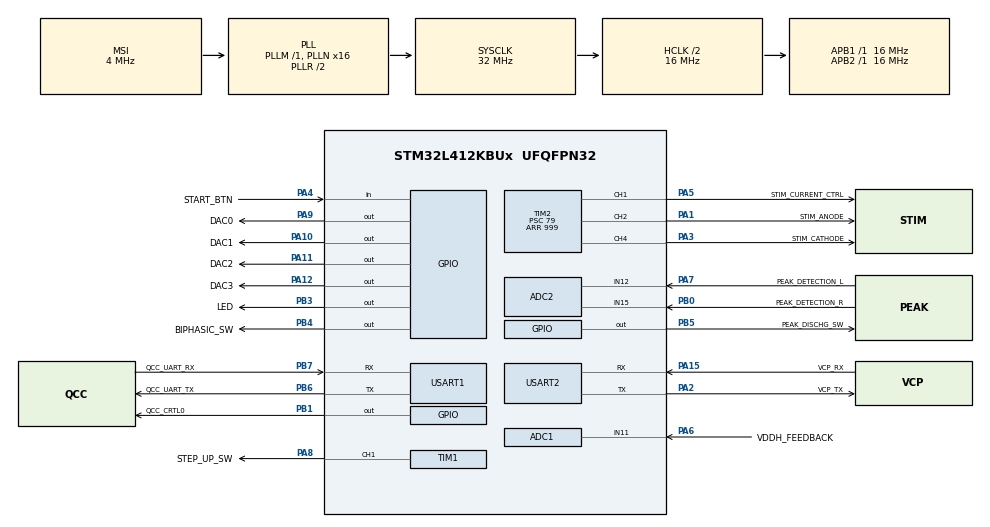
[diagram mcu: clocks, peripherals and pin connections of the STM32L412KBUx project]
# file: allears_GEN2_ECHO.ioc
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ADC1.Channel-4\#ChannelRegularConversion=ADC_CHANNEL_11
ADC1.ClockPrescaler=ADC_CLOCK_ASYNC_DIV1
ADC1.ContinuousConvMode=ENABLE
ADC1.DMAContinuousRequests=DISABLE
ADC1.EOCSelection=ADC_EOC_SEQ_CONV
ADC1.ExternalTrigConv=ADC_SOFTWARE_START
ADC1.NbrOfConversion=1
ADC1.NbrOfConversionFlag=1
ADC1.Overrun=ADC_OVR_DATA_PRESERVED
ADC1.SamplingTime-4\#ChannelRegularConversion=ADC_SAMPLETIME_47CYCLES_5
ADC1.master=1
ADC2.Channel-0\#ChannelRegularConversion=ADC_CHANNEL_12
ADC2.Channel-1\#ChannelRegularConversion=ADC_CHANNEL_15
ADC2.ContinuousConvMode=ENABLE
ADC2.DMAContinuousRequests=ENABLE
ADC2.EOCSelection=ADC_EOC_SEQ_CONV
ADC2.ExternalTrigConv=ADC_EXTERNALTRIG_T2_TRGO
ADC2.NbrOfConversion=2
ADC2.NbrOfConversionFlag=1
ADC2.OffsetNumber-0\#ChannelRegularConversion=ADC_OFFSET_NONE
ADC2.OffsetNumber-1\#ChannelRegularConversion=ADC_OFFSET_NONE
ADC2.Rank-0\#ChannelRegularConversion=1
ADC2.Rank-1\#ChannelRegularConversion=2
ADC2.SamplingTime-0\#ChannelRegularConversion=ADC_SAMPLETIME_47CYCLES_5
ADC2.SamplingTime-1\#ChannelRegularConversion=ADC_SAMPLETIME_47CYCLES_5
Dma.ADC1.2.Direction=DMA_PERIPH_TO_MEMORY
Dma.ADC1.2.Instance=DMA1_Channel1
Dma.ADC1.2.MemDataAlignment=DMA_MDATAALIGN_HALFWORD
Dma.ADC1.2.MemInc=DMA_MINC_ENABLE
Dma.ADC1.2.Mode=DMA_NORMAL
Dma.ADC1.2.PeriphDataAlignment=DMA_PDATAALIGN_HALFWORD
Dma.ADC1.2.PeriphInc=DMA_PINC_DISABLE
Dma.ADC1.2.Priority=DMA_PRIORITY_HIGH
Dma.ADC2.3.Direction=DMA_PERIPH_TO_MEMORY
Dma.ADC2.3.Instance=DMA1_Channel2
Dma.ADC2.3.MemDataAlignment=DMA_MDATAALIGN_HALFWORD
Dma.ADC2.3.MemInc=DMA_MINC_ENABLE
Dma.ADC2.3.Mode=DMA_CIRCULAR
Dma.ADC2.3.PeriphDataAlignment=DMA_PDATAALIGN_HALFWORD
Dma.ADC2.3.PeriphInc=DMA_PINC_DISABLE
Dma.ADC2.3.Priority=DMA_PRIORITY_LOW
Dma.Request0=TIM2_CH2/CH4
Dma.Request1=TIM2_CH1
Dma.Request2=ADC1
Dma.Request3=ADC2
Dma.TIM2_CH1.1.Direction=DMA_MEMORY_TO_PERIPH
Dma.TIM2_CH1.1.Instance=DMA1_Channel5
Dma.TIM2_CH1.1.MemDataAlignment=DMA_MDATAALIGN_WORD
Dma.TIM2_CH1.1.MemInc=DMA_MINC_ENABLE
Dma.TIM2_CH1.1.Mode=DMA_CIRCULAR
Dma.TIM2_CH1.1.PeriphDataAlignment=DMA_PDATAALIGN_WORD
Dma.TIM2_CH1.1.PeriphInc=DMA_PINC_DISABLE
Dma.TIM2_CH1.1.Priority=DMA_PRIORITY_LOW
Dma.TIM2_CH2/CH4.0.Direction=DMA_MEMORY_TO_PERIPH
Dma.TIM2_CH2/CH4.0.Instance=DMA1_Channel7
Dma.TIM2_CH2/CH4.0.MemDataAlignment=DMA_MDATAALIGN_WORD
Dma.TIM2_CH2/CH4.0.MemInc=DMA_MINC_ENABLE
Dma.TIM2_CH2/CH4.0.Mode=DMA_CIRCULAR
Dma.TIM2_CH2/CH4.0.PeriphDataAlignment=DMA_PDATAALIGN_WORD
Dma.TIM2_CH2/CH4.0.PeriphInc=DMA_PINC_DISABLE
Dma.TIM2_CH2/CH4.0.Priority=DMA_PRIORITY_LOW
Mcu.Family=STM32L4
Mcu.Name=STM32L412KBUx
Mcu.Package=UFQFPN32
NVIC.DMA1_Channel1_IRQn=true\:2\:0\:true\:false\:true\:false\:true\:true
NVIC.DMA1_Channel2_IRQn=true\:2\:0\:true\:false\:true\:false\:true\:true
NVIC.DMA1_Channel5_IRQn=true\:0\:0\:true\:false\:true\:false\:true\:true
NVIC.DMA1_Channel7_IRQn=true\:0\:0\:true\:false\:true\:false\:true\:true
NVIC.PriorityGroup=NVIC_PRIORITYGROUP_4
NVIC.TIM1_UP_TIM16_IRQn=true\:2\:0\:true\:false\:true\:true\:true\:true
NVIC.TIM2_IRQn=true\:2\:0\:true\:false\:true\:true\:true\:true
NVIC.USART1_IRQn=true\:0\:0\:false\:false\:true\:true\:true\:true
NVIC.USART2_IRQn=true\:0\:0\:false\:false\:true\:true\:true\:true
PA0-CK_IN.Mode=SYS_WakeUp0
PA0-CK_IN.Signal=SYS_WKUP1
PA1.GPIO_Label=STIM_ANODE
PA1.GPIO_PuPd=GPIO_NOPULL
PA1.Signal=S_TIM2_CH2
PA10.GPIO_Label=DAC1
PA10.Signal=GPIO_Output
PA11.GPIO_Label=DAC2
PA11.Signal=GPIO_Output
PA12.GPIO_Label=DAC3
PA12.Signal=GPIO_Output
PA13\ (JTMS/SWDIO).GPIO_Label=SWDIO
PA13\ (JTMS/SWDIO).Mode=Serial_Wire
PA13\ (JTMS/SWDIO).Signal=SYS_JTMS-SWDIO
PA14\ (JTCK/SWCLK).GPIO_Label=SWCLK
PA14\ (JTCK/SWCLK).Mode=Serial_Wire
PA14\ (JTCK/SWCLK).Signal=SYS_JTCK-SWCLK
PA15\ (JTDI).GPIO_Label=VCP_RX
PA15\ (JTDI).Mode=Asynchronous
PA15\ (JTDI).Signal=USART2_RX
PA2.GPIO_Label=VCP_TX
PA2.Mode=Asynchronous
PA2.Signal=USART2_TX
PA3.GPIO_Label=STIM_CATHODE
PA3.GPIO_PuPd=GPIO_NOPULL
PA3.Signal=S_TIM2_CH4
PA4.GPIO_Label=START_BTN
PA4.GPIO_PuPd=GPIO_PULLUP
PA4.Signal=GPIO_Input
PA5.GPIO_Label=STIM_CURRENT_CTRL
PA5.GPIO_PuPd=GPIO_NOPULL
PA5.Signal=S_TIM2_CH1
PA6.GPIO_Label=VDDH_FEEDBACK
PA6.GPIO_Mode=GPIO_MODE_ANALOG_ADC_CONTROL
PA6.GPIO_PuPd=GPIO_NOPULL
PA6.Signal=ADCx_IN11
PA7.GPIO_Label=PEAK_DETECTION_L
PA7.Signal=ADCx_IN12
PA8.GPIO_Label=STEP_UP_SW
PA8.Signal=S_TIM1_CH1
PA9.GPIO_Label=DAC0
PA9.Signal=GPIO_Output
PB0.GPIO_Label=PEAK_DETECTION_R
PB0.Signal=ADCx_IN15
PB1.GPIO_Label=QCC_CRTL0
PB1.Signal=GPIO_Output
PB3\ (JTDO/TRACESWO).GPIO_Label=LED
PB3\ (JTDO/TRACESWO).Signal=GPIO_Output
PB4\ (NJTRST).GPIO_Label=BIPHASIC_SW
PB4\ (NJTRST).Signal=GPIO_Output
PB5.GPIO_Label=PEAK_DISCHG_SW
PB5.Signal=GPIO_Output
PB6.GPIO_Label=QCC_UART_TX
PB6.Mode=Asynchronous
PB6.Signal=USART1_TX
PB7.GPIO_Label=QCC_UART_RX
PB7.Mode=Asynchronous
PB7.Signal=USART1_RX
PC14-OSC32_IN\ (PC14).Mode=LSE-External-Oscillator
PC14-OSC32_IN\ (PC14).Signal=RCC_OSC32_IN
PC15-OSC32_OUT\ (PC15).Mode=LSE-External-Oscillator
PC15-OSC32_OUT\ (PC15).Signal=RCC_OSC32_OUT
ProjectManager.HeapSize=0x800
ProjectManager.StackSize=0x800
ProjectManager.TargetToolchain=STM32CubeIDE
RCC.ADCFreq_Value=32000000
RCC.AHBCLKDivider=RCC_SYSCLK_DIV2
RCC.AHBFreq_Value=16000000
RCC.APB1Freq_Value=16000000
RCC.APB1TimFreq_Value=16000000
RCC.APB2Freq_Value=16000000
RCC.APB2TimFreq_Value=16000000
RCC.CortexFreq_Value=16000000
RCC.FLatency=FLASH_LATENCY_0
RCC.HCLKFreq_Value=16000000
RCC.HSE_VALUE=8000000
RCC.HSI48_VALUE=48000000
RCC.HSICalibrationValue=16
RCC.HSI_VALUE=16000000
RCC.MSI_VALUE=4000000
RCC.PLLN=16
RCC.SYSCLKFreq_VALUE=32000000
RCC.SYSCLKSource=RCC_SYSCLKSOURCE_PLLCLK
RCC.USBFreq_Value=4000000
RCC.VCOOutputFreq_Value=64000000
SH.ADCx_IN11.0=ADC1_IN11,IN11-Single-Ended
SH.ADCx_IN12.0=ADC2_IN12,IN12-Single-Ended
SH.ADCx_IN15.0=ADC2_IN15,IN15-Single-Ended
SH.S_TIM1_CH1.0=TIM1_CH1,PWM Generation1 CH1
SH.S_TIM2_CH1.0=TIM2_CH1,Output Compare1 CH1
SH.S_TIM2_CH2.0=TIM2_CH2,PWM Generation2 CH2
SH.S_TIM2_CH4.0=TIM2_CH4,Output Compare4 CH4
TIM1.AutoReloadPreload=TIM_AUTORELOAD_PRELOAD_ENABLE
TIM1.Channel-PWM\ Generation1\ CH1=TIM_CHANNEL_1
TIM1.CounterMode=TIM_COUNTERMODE_DOWN
TIM1.Period=199
TIM1.Prescaler=1
TIM1.Pulse-PWM\ Generation1\ CH1=1
TIM16.AutoReloadPreload=TIM_AUTORELOAD_PRELOAD_ENABLE
TIM16.Period=999
TIM16.Prescaler=7999
TIM2.AutoReloadPreload=TIM_AUTORELOAD_PRELOAD_ENABLE
TIM2.Channel-Output\ Compare1\ CH1=TIM_CHANNEL_1
TIM2.Channel-Output\ Compare4\ CH4=TIM_CHANNEL_4
TIM2.Channel-PWM\ Generation2\ CH2=TIM_CHANNEL_2
TIM2.ClearInputSource=TIM_CLEARINPUTSOURCE_NONE
TIM2.OC1Preload=DISABLE
TIM2.OC2Preload_PWM=DISABLE
TIM2.OC4Preload=DISABLE
TIM2.OCMode_1=TIM_OCMODE_TOGGLE
TIM2.OCMode_4=TIM_OCMODE_TOGGLE
TIM2.OCPolarity_1=TIM_OCPOLARITY_HIGH
TIM2.OCPolarity_2=TIM_OCPOLARITY_HIGH
TIM2.OCPolarity_4=TIM_OCPOLARITY_HIGH
TIM2.Period=999
TIM2.Prescaler=79
TIM2.Pulse-Output\ Compare1\ CH1=5
TIM2.Pulse-Output\ Compare4\ CH4=1040
TIM2.Pulse-PWM\ Generation2\ CH2=1010
TIM2.TIM_MasterOutputTrigger=TIM_TRGO_UPDATE
USART1.VirtualMode-Asynchronous=VM_ASYNC
USART2.VirtualMode-Asynchronous=VM_ASYNC
VP_TIM16_VS_ClockSourceINT.Mode=Enable_Timer
board=NUCLEO-L412KB

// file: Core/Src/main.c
/* USER CODE BEGIN Header */
/**
 ******************************************************************************
 * @file           : main.c
 * @brief          : Main program body
 ******************************************************************************
 * @attention
 *
 * Copyright (c) 2022 STMicroelectronics.
 * All rights reserved.
 *
 * This software is licensed under terms that can be found in the LICENSE file
 * in the root directory of this software component.
 * If no LICENSE file comes with this software, it is provided AS-IS.
 *
 ******************************************************************************
 */
/* USER CODE END Header */
#include "main.h"

/* USER CODE BEGIN Includes */
#include <stdio.h>
#include <stdbool.h>
#include <echo_adc.h>
#include <echo_btn.h>
#include <echo_led.h>
#include <echo_schedule.h>
#include <echo_shell.h>
#include <echo_stim_setting.h>
#include <echo_sys_common.h>
#include <echo_sys_fsm_state.h>

/* USER CODE END Includes */

ADC_HandleTypeDef hadc1;
ADC_HandleTypeDef hadc2;
DMA_HandleTypeDef hdma_adc1;
DMA_HandleTypeDef hdma_adc2;

TIM_HandleTypeDef htim1;
TIM_HandleTypeDef htim2;
TIM_HandleTypeDef htim16;
DMA_HandleTypeDef hdma_tim2_ch2_ch4;
DMA_HandleTypeDef hdma_tim2_ch1;

UART_HandleTypeDef huart1;
UART_HandleTypeDef huart2;

void SystemClock_Config(void);
static void MX_GPIO_Init(void);
static void MX_DMA_Init(void);
static void MX_TIM1_Init(void);
static void MX_TIM2_Init(void);
static void MX_TIM16_Init(void);
static void MX_USART1_UART_Init(void);
static void MX_USART2_UART_Init(void);
static void MX_ADC1_Init(void);
static void MX_ADC2_Init(void);

int main(void)
{

	/* MCU Configuration--------------------------------------------------------*/

	/* Reset of all peripherals, Initializes the Flash interface and the Systick. */
	HAL_Init();

	/* Configure the system clock */
	SystemClock_Config();

	/* Initialize all configured peripherals */
	MX_GPIO_Init();
	MX_DMA_Init();
	MX_TIM1_Init();
	MX_TIM2_Init();
	MX_TIM16_Init();
	MX_USART1_UART_Init();
	MX_USART2_UART_Init();
	MX_ADC1_Init();
	MX_ADC2_Init();
	/* USER CODE BEGIN 2 */
	static uint32_t schdule_tick = 0;
	Echo_PCI_State_Init();
	/* USER CODE END 2 */

	/* Infinite loop */
	while (1)
	{

		/* USER CODE BEGIN 3 */
		Echo_Shell_CMD_Handle();
		if (HAL_GetTick() - schdule_tick >= ECHO_SCHED_HANDLE_PERIOD)
		{
			Echo_Sys_FSM_State_Handle();
			Echo_Btn_Handle();
			Echo_LED_Handle();
			Echo_ADC_Handle();
			Echo_Shell_Input_Print();
			schdule_tick = HAL_GetTick();
		}

		/*
		 GPIOB->ODR ^= LED_Pin;
		 HAL_Delay(25);
		 */

		/*
		 * POWER SLEEP MODE
		 * HAL_PWR_EnterSLEEPMode(PWR_MAINREGULATOR_ON, PWR_SLEEPENTRY_WFI);
		 */
	}
	/* USER CODE END 3 */
}

void SystemClock_Config(void)
{
	RCC_OscInitTypeDef RCC_OscInitStruct =
	{ 0 };
	RCC_ClkInitTypeDef RCC_ClkInitStruct =
	{ 0 };

	/** Configure the main internal regulator output voltage
	 */
	if (HAL_PWREx_ControlVoltageScaling(PWR_REGULATOR_VOLTAGE_SCALE1) != HAL_OK)
	{
		Error_Handler();
	}

	/** Configure LSE Drive Capability
	 */
	HAL_PWR_EnableBkUpAccess();
	__HAL_RCC_LSEDRIVE_CONFIG(RCC_LSEDRIVE_LOW);

	/** Initializes the RCC Oscillators according to the specified parameters
	 * in the RCC_OscInitTypeDef structure.
	 */
	RCC_OscInitStruct.OscillatorType = RCC_OSCILLATORTYPE_LSE
			| RCC_OSCILLATORTYPE_MSI;
	RCC_OscInitStruct.LSEState = RCC_LSE_ON;
	RCC_OscInitStruct.MSIState = RCC_MSI_ON;
	RCC_OscInitStruct.MSICalibrationValue = 0;
	RCC_OscInitStruct.MSIClockRange = RCC_MSIRANGE_6;
	RCC_OscInitStruct.PLL.PLLState = RCC_PLL_ON;
	RCC_OscInitStruct.PLL.PLLSource = RCC_PLLSOURCE_MSI;
	RCC_OscInitStruct.PLL.PLLM = 1;
	RCC_OscInitStruct.PLL.PLLN = 16;
	RCC_OscInitStruct.PLL.PLLQ = RCC_PLLQ_DIV2;
	RCC_OscInitStruct.PLL.PLLR = RCC_PLLR_DIV2;
	if (HAL_RCC_OscConfig(&RCC_OscInitStruct) != HAL_OK)
	{
		Error_Handler();
	}

	/** Initializes the CPU, AHB and APB buses clocks
	 */
	RCC_ClkInitStruct.ClockType = RCC_CLOCKTYPE_HCLK | RCC_CLOCKTYPE_SYSCLK
			| RCC_CLOCKTYPE_PCLK1 | RCC_CLOCKTYPE_PCLK2;
	RCC_ClkInitStruct.SYSCLKSource = RCC_SYSCLKSOURCE_PLLCLK;
	RCC_ClkInitStruct.AHBCLKDivider = RCC_SYSCLK_DIV2;
	RCC_ClkInitStruct.APB1CLKDivider = RCC_HCLK_DIV1;
	RCC_ClkInitStruct.APB2CLKDivider = RCC_HCLK_DIV1;

	if (HAL_RCC_ClockConfig(&RCC_ClkInitStruct, FLASH_LATENCY_0) != HAL_OK)
	{
		Error_Handler();
	}

	/** Enable MSI Auto calibration
	 */
	HAL_RCCEx_EnableMSIPLLMode();
}

static void MX_ADC1_Init(void)
{

	ADC_MultiModeTypeDef multimode =
	{ 0 };
	ADC_ChannelConfTypeDef sConfig =
	{ 0 };

	/** Common config
	 */
	hadc1.Instance = ADC1;
	hadc1.Init.ClockPrescaler = ADC_CLOCK_ASYNC_DIV1;
	hadc1.Init.Resolution = ADC_RESOLUTION_12B;
	hadc1.Init.DataAlign = ADC_DATAALIGN_RIGHT;
	hadc1.Init.ScanConvMode = ADC_SCAN_DISABLE;
	hadc1.Init.EOCSelection = ADC_EOC_SEQ_CONV;
	hadc1.Init.LowPowerAutoWait = DISABLE;
	hadc1.Init.ContinuousConvMode = ENABLE;
	hadc1.Init.NbrOfConversion = 1;
	hadc1.Init.DiscontinuousConvMode = DISABLE;
	hadc1.Init.ExternalTrigConv = ADC_SOFTWARE_START;
	hadc1.Init.ExternalTrigConvEdge = ADC_EXTERNALTRIGCONVEDGE_NONE;
	hadc1.Init.DMAContinuousRequests = DISABLE;
	hadc1.Init.Overrun = ADC_OVR_DATA_PRESERVED;
	hadc1.Init.OversamplingMode = DISABLE;
	if (HAL_ADC_Init(&hadc1) != HAL_OK)
	{
		Error_Handler();
	}

	/** Configure the ADC multi-mode
	 */
	multimode.Mode = ADC_MODE_INDEPENDENT;
	if (HAL_ADCEx_MultiModeConfigChannel(&hadc1, &multimode) != HAL_OK)
	{
		Error_Handler();
	}

	/** Configure Regular Channel
	 */
	sConfig.Channel = ADC_CHANNEL_11;
	sConfig.Rank = ADC_REGULAR_RANK_1;
	sConfig.SamplingTime = ADC_SAMPLETIME_47CYCLES_5;
	sConfig.SingleDiff = ADC_SINGLE_ENDED;
	sConfig.OffsetNumber = ADC_OFFSET_NONE;
	sConfig.Offset = 0;
	if (HAL_ADC_ConfigChannel(&hadc1, &sConfig) != HAL_OK)
	{
		Error_Handler();
	}

}

static void MX_ADC2_Init(void)
{

	ADC_ChannelConfTypeDef sConfig =
	{ 0 };

	/** Common config
	 */
	hadc2.Instance = ADC2;
	hadc2.Init.ClockPrescaler = ADC_CLOCK_ASYNC_DIV1;
	hadc2.Init.Resolution = ADC_RESOLUTION_12B;
	hadc2.Init.DataAlign = ADC_DATAALIGN_RIGHT;
	hadc2.Init.ScanConvMode = ADC_SCAN_ENABLE;
	hadc2.Init.EOCSelection = ADC_EOC_SEQ_CONV;
	hadc2.Init.LowPowerAutoWait = DISABLE;
	hadc2.Init.ContinuousConvMode = ENABLE;
	hadc2.Init.NbrOfConversion = 2;
	hadc2.Init.DiscontinuousConvMode = DISABLE;
	hadc2.Init.ExternalTrigConv = ADC_EXTERNALTRIG_T2_TRGO;
	hadc2.Init.ExternalTrigConvEdge = ADC_EXTERNALTRIGCONVEDGE_RISING;
	hadc2.Init.DMAContinuousRequests = ENABLE;
	hadc2.Init.Overrun = ADC_OVR_DATA_PRESERVED;
	hadc2.Init.OversamplingMode = DISABLE;
	if (HAL_ADC_Init(&hadc2) != HAL_OK)
	{
		Error_Handler();
	}

	/** Configure Regular Channel
	 */
	sConfig.Channel = ADC_CHANNEL_12;
	sConfig.Rank = ADC_REGULAR_RANK_1;
	sConfig.SamplingTime = ADC_SAMPLETIME_47CYCLES_5;
	sConfig.SingleDiff = ADC_SINGLE_ENDED;
	sConfig.OffsetNumber = ADC_OFFSET_NONE;
	sConfig.Offset = 0;
	if (HAL_ADC_ConfigChannel(&hadc2, &sConfig) != HAL_OK)
	{
		Error_Handler();
	}

	/** Configure Regular Channel
	 */
	sConfig.Channel = ADC_CHANNEL_15;
	sConfig.Rank = ADC_REGULAR_RANK_2;
	if (HAL_ADC_ConfigChannel(&hadc2, &sConfig) != HAL_OK)
	{
		Error_Handler();
	}

}

static void MX_TIM1_Init(void)
{

	TIM_MasterConfigTypeDef sMasterConfig =
	{ 0 };
	TIM_OC_InitTypeDef sConfigOC =
	{ 0 };
	TIM_BreakDeadTimeConfigTypeDef sBreakDeadTimeConfig =
	{ 0 };

	htim1.Instance = TIM1;
	htim1.Init.Prescaler = 1;
	htim1.Init.CounterMode = TIM_COUNTERMODE_DOWN;
	htim1.Init.Period = 199;
	htim1.Init.ClockDivision = TIM_CLOCKDIVISION_DIV1;
	htim1.Init.RepetitionCounter = 0;
	htim1.Init.AutoReloadPreload = TIM_AUTORELOAD_PRELOAD_ENABLE;
	if (HAL_TIM_PWM_Init(&htim1) != HAL_OK)
	{
		Error_Handler();
	}
	sMasterConfig.MasterOutputTrigger = TIM_TRGO_RESET;
	sMasterConfig.MasterOutputTrigger2 = TIM_TRGO2_RESET;
	sMasterConfig.MasterSlaveMode = TIM_MASTERSLAVEMODE_DISABLE;
	if (HAL_TIMEx_MasterConfigSynchronization(&htim1, &sMasterConfig) != HAL_OK)
	{
		Error_Handler();
	}
	sConfigOC.OCMode = TIM_OCMODE_PWM1;
	sConfigOC.Pulse = 1;
	sConfigOC.OCPolarity = TIM_OCPOLARITY_HIGH;
	sConfigOC.OCNPolarity = TIM_OCNPOLARITY_HIGH;
	sConfigOC.OCFastMode = TIM_OCFAST_DISABLE;
	sConfigOC.OCIdleState = TIM_OCIDLESTATE_RESET;
	sConfigOC.OCNIdleState = TIM_OCNIDLESTATE_RESET;
	if (HAL_TIM_PWM_ConfigChannel(&htim1, &sConfigOC, TIM_CHANNEL_1) != HAL_OK)
	{
		Error_Handler();
	}
	sBreakDeadTimeConfig.OffStateRunMode = TIM_OSSR_DISABLE;
	sBreakDeadTimeConfig.OffStateIDLEMode = TIM_OSSI_DISABLE;
	sBreakDeadTimeConfig.LockLevel = TIM_LOCKLEVEL_OFF;
	sBreakDeadTimeConfig.DeadTime = 0;
	sBreakDeadTimeConfig.BreakState = TIM_BREAK_DISABLE;
	sBreakDeadTimeConfig.BreakPolarity = TIM_BREAKPOLARITY_HIGH;
	sBreakDeadTimeConfig.BreakFilter = 0;
	sBreakDeadTimeConfig.Break2State = TIM_BREAK2_DISABLE;
	sBreakDeadTimeConfig.Break2Polarity = TIM_BREAK2POLARITY_HIGH;
	sBreakDeadTimeConfig.Break2Filter = 0;
	sBreakDeadTimeConfig.AutomaticOutput = TIM_AUTOMATICOUTPUT_DISABLE;
	if (HAL_TIMEx_ConfigBreakDeadTime(&htim1, &sBreakDeadTimeConfig) != HAL_OK)
	{
		Error_Handler();
	}
	HAL_TIM_MspPostInit(&htim1);

}

static void MX_TIM2_Init(void)
{

	TIM_MasterConfigTypeDef sMasterConfig =
	{ 0 };
	TIM_OC_InitTypeDef sConfigOC =
	{ 0 };

	htim2.Instance = TIM2;
	htim2.Init.Prescaler = 79;
	htim2.Init.CounterMode = TIM_COUNTERMODE_UP;
	htim2.Init.Period = 999;
	htim2.Init.ClockDivision = TIM_CLOCKDIVISION_DIV1;
	htim2.Init.AutoReloadPreload = TIM_AUTORELOAD_PRELOAD_ENABLE;
	if (HAL_TIM_OC_Init(&htim2) != HAL_OK)
	{
		Error_Handler();
	}
	if (HAL_TIM_PWM_Init(&htim2) != HAL_OK)
	{
		Error_Handler();
	}
	sMasterConfig.MasterOutputTrigger = TIM_TRGO_UPDATE;
	sMasterConfig.MasterSlaveMode = TIM_MASTERSLAVEMODE_DISABLE;
	if (HAL_TIMEx_MasterConfigSynchronization(&htim2, &sMasterConfig) != HAL_OK)
	{
		Error_Handler();
	}
	sConfigOC.OCMode = TIM_OCMODE_TOGGLE;
	sConfigOC.Pulse = 5;
	sConfigOC.OCPolarity = TIM_OCPOLARITY_HIGH;
	sConfigOC.OCFastMode = TIM_OCFAST_DISABLE;
	if (HAL_TIM_OC_ConfigChannel(&htim2, &sConfigOC, TIM_CHANNEL_1) != HAL_OK)
	{
		Error_Handler();
	}
	sConfigOC.OCMode = TIM_OCMODE_PWM1;
	sConfigOC.Pulse = 1010;
	if (HAL_TIM_PWM_ConfigChannel(&htim2, &sConfigOC, TIM_CHANNEL_2) != HAL_OK)
	{
		Error_Handler();
	}
	__HAL_TIM_DISABLE_OCxPRELOAD(&htim2, TIM_CHANNEL_2);
	sConfigOC.OCMode = TIM_OCMODE_TOGGLE;
	sConfigOC.Pulse = 1040;
	if (HAL_TIM_OC_ConfigChannel(&htim2, &sConfigOC, TIM_CHANNEL_4) != HAL_OK)
	{
		Error_Handler();
	}
	HAL_TIM_MspPostInit(&htim2);

}

static void MX_TIM16_Init(void)
{

	htim16.Instance = TIM16;
	htim16.Init.Prescaler = 7999;
	htim16.Init.CounterMode = TIM_COUNTERMODE_UP;
	htim16.Init.Period = 999;
	htim16.Init.ClockDivision = TIM_CLOCKDIVISION_DIV1;
	htim16.Init.RepetitionCounter = 0;
	htim16.Init.AutoReloadPreload = TIM_AUTORELOAD_PRELOAD_ENABLE;
	if (HAL_TIM_Base_Init(&htim16) != HAL_OK)
	{
		Error_Handler();
	}

}

static void MX_USART1_UART_Init(void)
{

	huart1.Instance = USART1;
	huart1.Init.BaudRate = 115200;
	huart1.Init.WordLength = UART_WORDLENGTH_8B;
	huart1.Init.StopBits = UART_STOPBITS_1;
	huart1.Init.Parity = UART_PARITY_NONE;
	huart1.Init.Mode = UART_MODE_TX_RX;
	huart1.Init.HwFlowCtl = UART_HWCONTROL_NONE;
	huart1.Init.OverSampling = UART_OVERSAMPLING_16;
	huart1.Init.OneBitSampling = UART_ONE_BIT_SAMPLE_DISABLE;
	huart1.AdvancedInit.AdvFeatureInit = UART_ADVFEATURE_NO_INIT;
	if (HAL_UART_Init(&huart1) != HAL_OK)
	{
		Error_Handler();
	}

}

static void MX_USART2_UART_Init(void)
{

	huart2.Instance = USART2;
	huart2.Init.BaudRate = 115200;
	huart2.Init.WordLength = UART_WORDLENGTH_8B;
	huart2.Init.StopBits = UART_STOPBITS_1;
	huart2.Init.Parity = UART_PARITY_NONE;
	huart2.Init.Mode = UART_MODE_TX_RX;
	huart2.Init.HwFlowCtl = UART_HWCONTROL_NONE;
	huart2.Init.OverSampling = UART_OVERSAMPLING_16;
	huart2.Init.OneBitSampling = UART_ONE_BIT_SAMPLE_DISABLE;
	huart2.AdvancedInit.AdvFeatureInit = UART_ADVFEATURE_NO_INIT;
	if (HAL_UART_Init(&huart2) != HAL_OK)
	{
		Error_Handler();
	}

}

static void MX_DMA_Init(void)
{

	/* DMA controller clock enable */
	__HAL_RCC_DMA1_CLK_ENABLE();

	/* DMA interrupt init */
	/* DMA1_Channel1_IRQn interrupt configuration */
	HAL_NVIC_SetPriority(DMA1_Channel1_IRQn, 2, 0);
	HAL_NVIC_EnableIRQ(DMA1_Channel1_IRQn);
	/* DMA1_Channel2_IRQn interrupt configuration */
	HAL_NVIC_SetPriority(DMA1_Channel2_IRQn, 2, 0);
	HAL_NVIC_EnableIRQ(DMA1_Channel2_IRQn);
	/* DMA1_Channel5_IRQn interrupt configuration */
	HAL_NVIC_SetPriority(DMA1_Channel5_IRQn, 0, 0);
	HAL_NVIC_EnableIRQ(DMA1_Channel5_IRQn);
	/* DMA1_Channel7_IRQn interrupt configuration */
	HAL_NVIC_SetPriority(DMA1_Channel7_IRQn, 0, 0);
	HAL_NVIC_EnableIRQ(DMA1_Channel7_IRQn);

}

static void MX_GPIO_Init(void)
{
	GPIO_InitTypeDef GPIO_InitStruct =
	{ 0 };

	/* GPIO Ports Clock Enable */
	__HAL_RCC_GPIOC_CLK_ENABLE();
	__HAL_RCC_GPIOA_CLK_ENABLE();
	__HAL_RCC_GPIOB_CLK_ENABLE();

	/*Configure GPIO pin Output Level */
	HAL_GPIO_WritePin(GPIOB,
	QCC_CRTL0_Pin | LED_Pin | BIPHASIC_SW_Pin | PEAK_DISCHG_SW_Pin,
			GPIO_PIN_RESET);

	/*Configure GPIO pin Output Level */
	HAL_GPIO_WritePin(GPIOA, DAC0_Pin | DAC1_Pin | DAC2_Pin | DAC3_Pin,
			GPIO_PIN_RESET);

	/*Configure GPIO pin : START_BTN_Pin */
	GPIO_InitStruct.Pin = START_BTN_Pin;
	GPIO_InitStruct.Mode = GPIO_MODE_INPUT;
	GPIO_InitStruct.Pull = GPIO_PULLUP;
	HAL_GPIO_Init(START_BTN_GPIO_Port, &GPIO_InitStruct);

	/*Configure GPIO pins : QCC_CRTL0_Pin LED_Pin BIPHASIC_SW_Pin PEAK_DISCHG_SW_Pin */
	GPIO_InitStruct.Pin = QCC_CRTL0_Pin | LED_Pin | BIPHASIC_SW_Pin
			| PEAK_DISCHG_SW_Pin;
	GPIO_InitStruct.Mode = GPIO_MODE_OUTPUT_PP;
	GPIO_InitStruct.Pull = GPIO_NOPULL;
	GPIO_InitStruct.Speed = GPIO_SPEED_FREQ_LOW;
	HAL_GPIO_Init(GPIOB, &GPIO_InitStruct);

	/*Configure GPIO pins : DAC0_Pin DAC1_Pin DAC2_Pin DAC3_Pin */
	GPIO_InitStruct.Pin = DAC0_Pin | DAC1_Pin | DAC2_Pin | DAC3_Pin;
	GPIO_InitStruct.Mode = GPIO_MODE_OUTPUT_PP;
	GPIO_InitStruct.Pull = GPIO_NOPULL;
	GPIO_InitStruct.Speed = GPIO_SPEED_FREQ_LOW;
	HAL_GPIO_Init(GPIOA, &GPIO_InitStruct);

}

void Error_Handler(void)
{
	__disable_irq();
	while (1)
	{
	}
}
